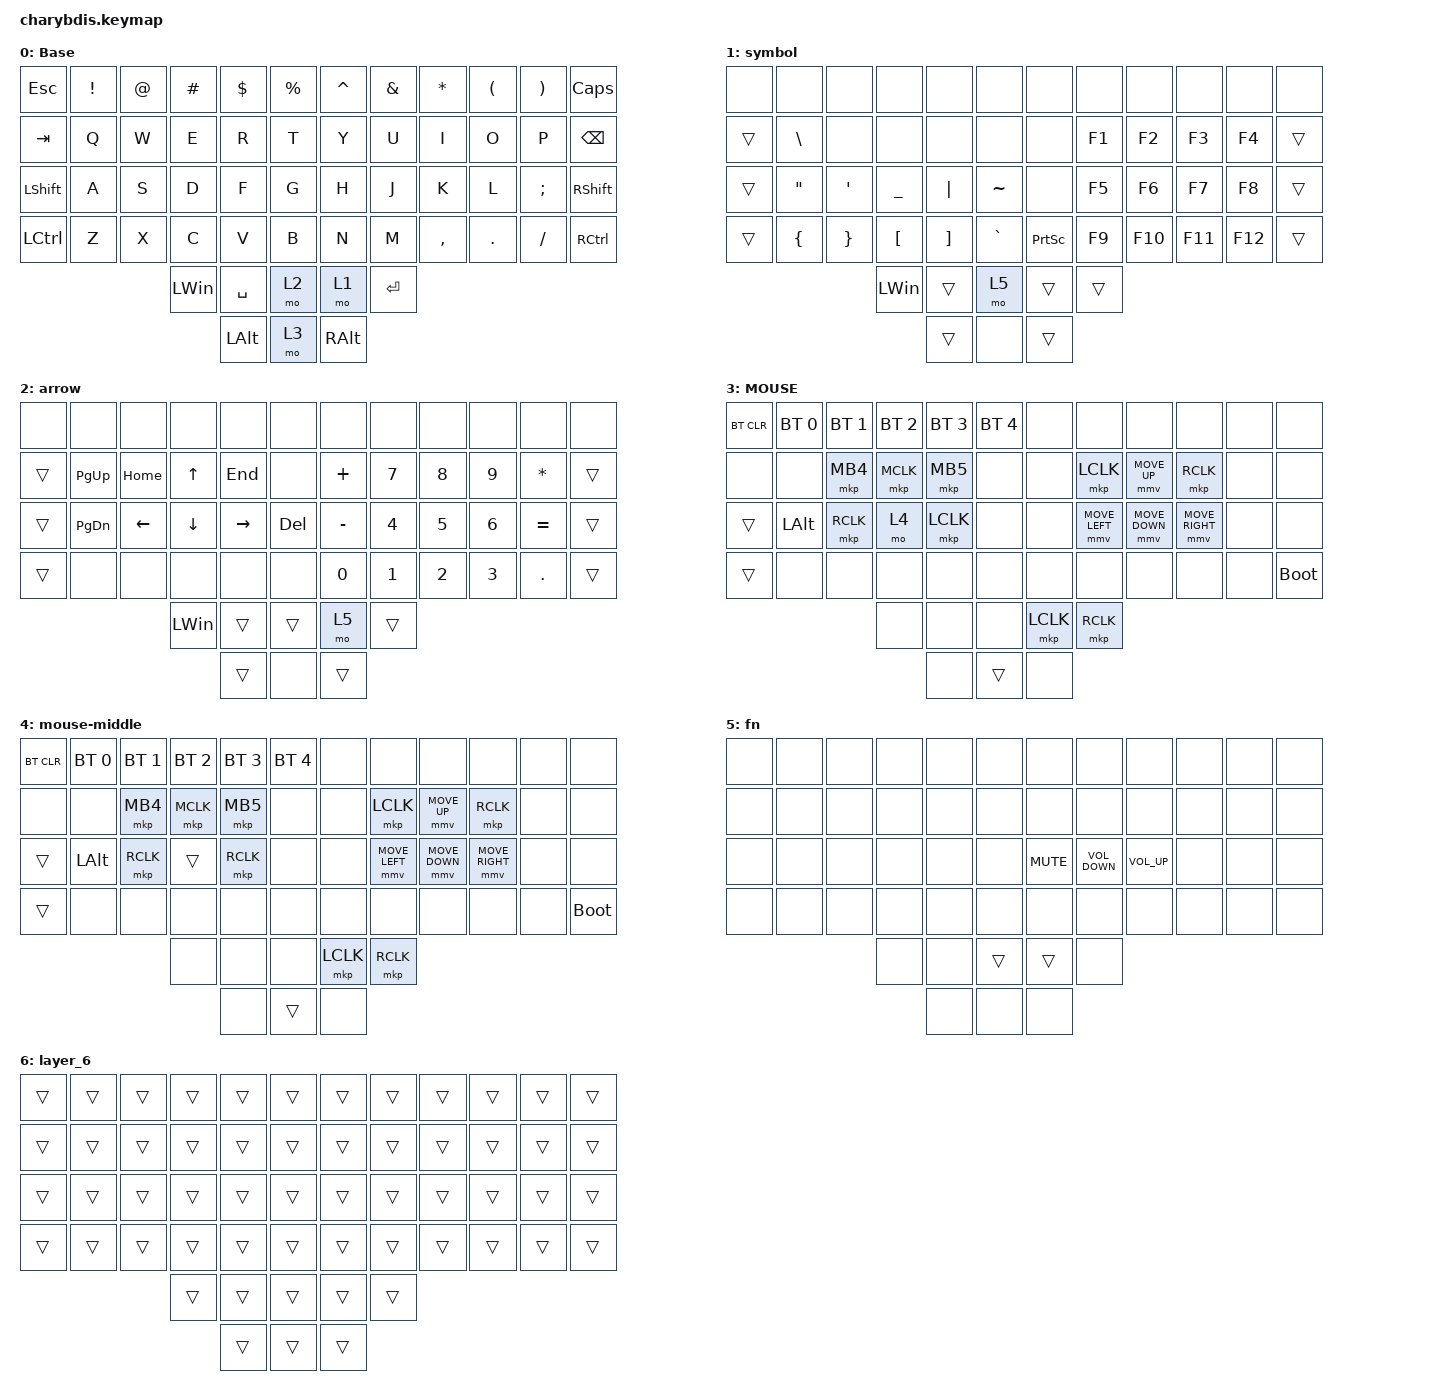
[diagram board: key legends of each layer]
#include <dt-bindings/zmk/mouse.h>
#include <behaviors.dtsi>
#include <dt-bindings/zmk/bt.h>
#include <dt-bindings/zmk/keys.h>
#include <dt-bindings/zmk/pointing.h>

&lt {
    tapping-term-ms = <200>;
    flavor = "balanced";
    quick-tap-ms = <150>;
};

/ {
    combos { compatible = "zmk,combos"; };

    keymap {
        compatible = "zmk,keymap";

        Base {
            bindings = <
&kp ESCAPE      &kp EXCLAMATION  &kp AT_SIGN  &kp POUND     &kp DOLLAR    &kp PERCENT    &kp CARET      &kp AMPERSAND  &kp ASTERISK  &kp LEFT_PARENTHESIS  &kp RIGHT_PARENTHESIS  &kp CAPSLOCK
&kp TAB         &kp Q            &kp W        &kp E         &kp R         &kp T          &kp Y          &kp U          &kp I         &kp O                 &kp P                  &kp BACKSPACE
&kp LEFT_SHIFT  &kp A            &kp S        &kp D         &kp F         &kp G          &kp H          &kp J          &kp K         &kp L                 &kp SEMI               &kp RIGHT_SHIFT
&kp LCTRL       &kp Z            &kp X        &kp C         &kp V         &kp B          &kp N          &kp M          &kp COMMA     &kp DOT               &kp SLASH              &kp RIGHT_CONTROL
                                              &kp LEFT_WIN  &kp SPACE     &mo 2          &mo 1          &kp ENTER
                                                            &kp LEFT_ALT  &mo 3          &kp RIGHT_ALT
            >;
        };

        symbol {
            bindings = <
&none   &none              &none             &none             &none              &none        &none            &none   &none    &none    &none    &none
&trans  &kp BACKSLASH      &none             &none             &none              &none        &none            &kp F1  &kp F2   &kp F3   &kp F4   &trans
&trans  &kp DOUBLE_QUOTES  &kp SINGLE_QUOTE  &kp UNDERSCORE    &kp PIPE           &kp TILDE    &none            &kp F5  &kp F6   &kp F7   &kp F8   &trans
&trans  &kp LEFT_BRACE     &kp RIGHT_BRACE   &kp LEFT_BRACKET  &kp RIGHT_BRACKET  &kp GRAVE    &kp PRINTSCREEN  &kp F9  &kp F10  &kp F11  &kp F12  &trans
                                             &kp LEFT_WIN      &trans             &mo 5        &trans           &trans
                                                               &trans             &none        &trans
            >;
        };

        arrow {
            bindings = <
&none   &none          &none     &none         &none      &none         &none         &none         &none         &none         &none         &none
&trans  &kp PAGE_UP    &kp HOME  &kp UP        &kp END    &none         &kp PLUS      &kp NUMBER_7  &kp NUMBER_8  &kp NUMBER_9  &kp ASTERISK  &trans
&trans  &kp PAGE_DOWN  &kp LEFT  &kp DOWN      &kp RIGHT  &kp DELETE    &kp MINUS     &kp NUMBER_4  &kp NUMBER_5  &kp NUMBER_6  &kp EQUAL     &trans
&trans  &none          &none     &none         &none      &none         &kp NUMBER_0  &kp NUMBER_1  &kp NUMBER_2  &kp NUMBER_3  &kp DOT       &trans
                                 &kp LEFT_WIN  &trans     &trans        &mo 5         &trans
                                               &trans     &none         &trans
            >;
        };

        MOUSE {
            bindings = <
&bt BT_CLR  &bt BT_SEL 0  &bt BT_SEL 1  &bt BT_SEL 2  &bt BT_SEL 3  &bt BT_SEL 4    &none      &none           &none           &none            &none  &none
&none       &none         &mkp MB4      &mkp MCLK     &mkp MB5      &none           &none      &mkp LCLK       &mmv MOVE_UP    &mkp RCLK        &none  &none
&trans      &kp LALT      &mkp RCLK     &mo 4         &mkp LCLK     &none           &none      &mmv MOVE_LEFT  &mmv MOVE_DOWN  &mmv MOVE_RIGHT  &none  &none
&trans      &none         &none         &none         &none         &none           &none      &none           &none           &none            &none  &bootloader
                                        &none         &none         &none           &mkp LCLK  &mkp RCLK
                                                      &none         &trans          &none
            >;
        };

        mouse-middle {
            bindings = <
&bt BT_CLR  &bt BT_SEL 0  &bt BT_SEL 1  &bt BT_SEL 2  &bt BT_SEL 3  &bt BT_SEL 4    &none      &none           &none           &none            &none  &none
&none       &none         &mkp MB4      &mkp MCLK     &mkp MB5      &none           &none      &mkp LCLK       &mmv MOVE_UP    &mkp RCLK        &none  &none
&trans      &kp LALT      &mkp RCLK     &trans        &mkp RCLK     &none           &none      &mmv MOVE_LEFT  &mmv MOVE_DOWN  &mmv MOVE_RIGHT  &none  &none
&trans      &none         &none         &none         &none         &none           &none      &none           &none           &none            &none  &bootloader
                                        &none         &none         &none           &mkp LCLK  &mkp RCLK
                                                      &none         &trans          &none
            >;
        };

        fn {
            bindings = <
&none  &none  &none  &none  &none  &none     &none       &none              &none            &none  &none  &none
&none  &none  &none  &none  &none  &none     &none       &none              &none            &none  &none  &none
&none  &none  &none  &none  &none  &none     &kp K_MUTE  &kp C_VOLUME_DOWN  &kp C_VOLUME_UP  &none  &none  &none
&none  &none  &none  &none  &none  &none     &none       &none              &none            &none  &none  &none
                     &none  &none  &trans    &trans      &none
                            &none  &none     &none
            >;
        };

        layer_6 {
            bindings = <
&trans  &trans  &trans  &trans  &trans  &trans    &trans  &trans  &trans  &trans  &trans  &trans
&trans  &trans  &trans  &trans  &trans  &trans    &trans  &trans  &trans  &trans  &trans  &trans
&trans  &trans  &trans  &trans  &trans  &trans    &trans  &trans  &trans  &trans  &trans  &trans
&trans  &trans  &trans  &trans  &trans  &trans    &trans  &trans  &trans  &trans  &trans  &trans
                        &trans  &trans  &trans    &trans  &trans
                                &trans  &trans    &trans
            >;
        };
    };
};
